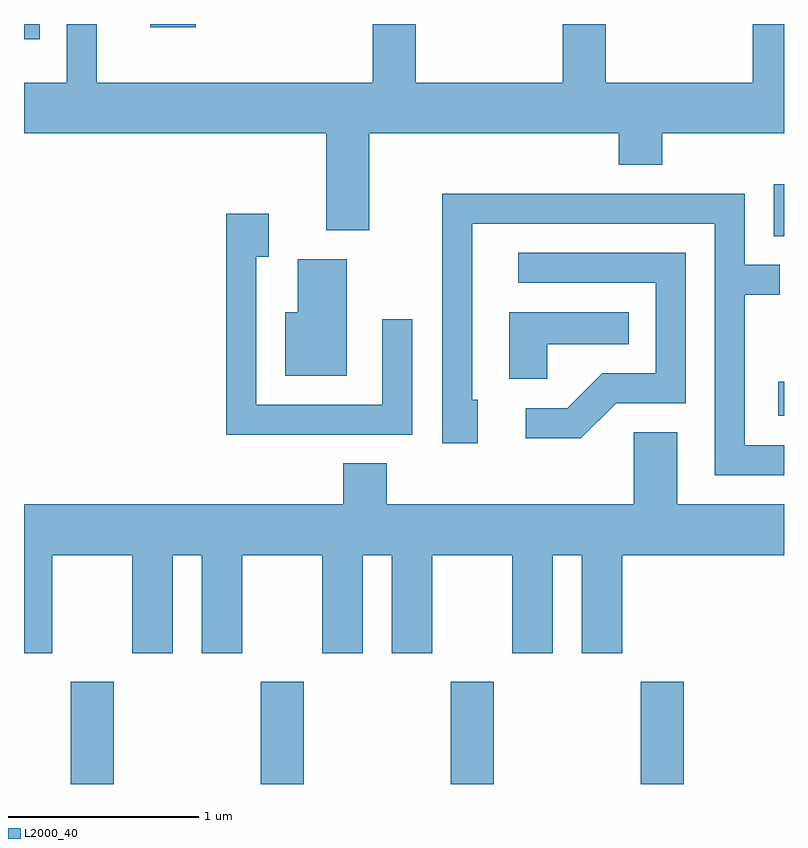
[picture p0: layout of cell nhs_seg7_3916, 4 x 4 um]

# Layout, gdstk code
import gdstk
lib = gdstk.Library(unit=1e-6, precision=1e-09)
def R(c, l, rs):  # rectangles x0, y0, x1, y1
    for r in rs: c.add(gdstk.rectangle(r[:2], r[2:], *l))
def A(c, l, x, y, w, h, nx, ny, dx, dy):  # array of equal rectangles
    R(c, l, [(x+i*dx, y+j*dy, x+i*dx+w, y+j*dy+h) for i in range(nx) for j in range(ny)])
def P(c, l, *ps):  # polygons
    for p in ps: c.add(gdstk.Polygon(p, *l))
L2000_40 = (2000, 40)

nhs_seg7_3916 = lib.new_cell('nhs_seg7_3916')
A(nhs_seg7_3916, L2000_40, 305.856, 1684.252, 0.228, 0.537, 4, 1, 1, 0)
R(nhs_seg7_3916, L2000_40, [(309.581,1686.191,309.611,1686.369), (309.556,1687.136,309.611,1687.408), (305.611,1688.171,305.693,1688.252), (306.276,1688.236,306.514,1688.252)])
P(nhs_seg7_3916, L2000_40, [(307.429,1687.676),(308.741,1687.676),(308.741,1687.511),(308.969,1687.511),(308.969,1687.676),(309.611,1687.676),(309.611,1688.252),(309.446,1688.252),(309.446,1687.944),(308.674,1687.944),(308.674,1688.252),(308.446,1688.252),(308.446,1687.944),(307.674,1687.944),(307.674,1688.252),(307.446,1688.252),(307.446,1687.944),(305.994,1687.944),(305.994,1688.252),(305.836,1688.252),(305.836,1687.944),(305.611,1687.944),(305.611,1687.676),(307.201,1687.676),(307.201,1687.166),(307.429,1687.166)],
  [(309.611,1686.034),(309.404,1686.034),(309.404,1686.826),(309.588,1686.826),(309.588,1686.984),(309.404,1686.984),(309.404,1687.359),(307.811,1687.359),(307.811,1686.046),(307.999,1686.046),(307.999,1686.274),(307.969,1686.274),(307.969,1687.201),(309.246,1687.201),(309.246,1685.876),(309.611,1685.876)],
  [(307.654,1686.698),(307.496,1686.698),(307.496,1686.249),(306.834,1686.249),(306.834,1687.026),(306.899,1687.026),(306.899,1687.254),(306.676,1687.254),(306.676,1686.091),(307.654,1686.091)],
  [(308.727,1686.256),(309.094,1686.256),(309.094,1687.049),(308.213,1687.049),(308.213,1686.891),(308.936,1686.891),(308.936,1686.414),(308.654,1686.414),(308.469,1686.229),(308.253,1686.229),(308.253,1686.071),(308.542,1686.071)],
  [(307.309,1687.014),(307.051,1687.014),(307.051,1686.734),(306.986,1686.734),(306.986,1686.401),(307.309,1686.401)],
  [(308.364,1686.566),(308.793,1686.566),(308.793,1686.734),(308.166,1686.734),(308.166,1686.386),(308.364,1686.386)],
  [(305.759,1685.456),(306.181,1685.456),(306.181,1684.941),(306.394,1684.941),(306.394,1685.456),(306.546,1685.456),(306.546,1684.941),(306.759,1684.941),(306.759,1685.456),(307.181,1685.456),(307.181,1684.941),(307.394,1684.941),(307.394,1685.456),(307.546,1685.456),(307.546,1684.941),(307.759,1684.941),(307.759,1685.456),(308.181,1685.456),(308.181,1684.941),(308.394,1684.941),(308.394,1685.456),(308.546,1685.456),(308.546,1684.941),(308.759,1684.941),(308.759,1685.456),(309.611,1685.456),(309.611,1685.724),(309.049,1685.724),(309.049,1686.104),(308.821,1686.104),(308.821,1685.724),(307.519,1685.724),(307.519,1685.939),(307.291,1685.939),(307.291,1685.724),(305.611,1685.724),(305.611,1684.941),(305.759,1684.941)])

lib.write_gds('nhs_seg7_3916.gds')
